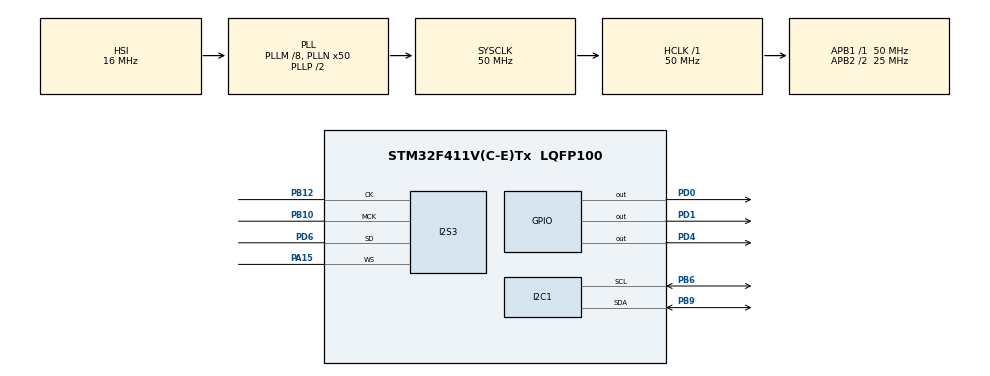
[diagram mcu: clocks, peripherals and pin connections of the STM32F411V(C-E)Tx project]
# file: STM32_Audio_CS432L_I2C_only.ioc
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Dma.Request0=SPI3_TX
Dma.SPI3_TX.0.Direction=DMA_MEMORY_TO_PERIPH
Dma.SPI3_TX.0.FIFOMode=DMA_FIFOMODE_DISABLE
Dma.SPI3_TX.0.Instance=DMA1_Stream5
Dma.SPI3_TX.0.MemDataAlignment=DMA_MDATAALIGN_BYTE
Dma.SPI3_TX.0.MemInc=DMA_MINC_ENABLE
Dma.SPI3_TX.0.Mode=DMA_NORMAL
Dma.SPI3_TX.0.PeriphDataAlignment=DMA_PDATAALIGN_BYTE
Dma.SPI3_TX.0.PeriphInc=DMA_PINC_DISABLE
Dma.SPI3_TX.0.Priority=DMA_PRIORITY_LOW
I2S3.ErrorAudioFreq=-0.36 %
I2S3.FullDuplexMode=I2S_FULLDUPLEXMODE_DISABLE
I2S3.Instance=SPI$Index
I2S3.RealAudioFreq=7.971 KHz
I2S3.VirtualMode=I2S_MODE_MASTER
Mcu.Family=STM32F4
Mcu.Name=STM32F411V(C-E)Tx
Mcu.Package=LQFP100
NVIC.DMA1_Stream5_IRQn=true\:0\:0\:false\:false\:true\:false\:true\:true
NVIC.PriorityGroup=NVIC_PRIORITYGROUP_0
NVIC.SPI3_IRQn=true\:0\:0\:false\:false\:true\:true\:true\:true
NVIC.TIM2_IRQn=true\:0\:0\:false\:false\:true\:true\:true\:true
PA15.Mode=Half_Duplex_Master
PA15.Signal=I2S3_WS
PB10.Mode=Master_Clock_Activated
PB10.Signal=I2S3_MCK
PB12.Mode=Half_Duplex_Master
PB12.Signal=I2S3_CK
PB6.Mode=I2C
PB6.Signal=I2C1_SCL
PB9.Mode=I2C
PB9.Signal=I2C1_SDA
PD0.Signal=GPIO_Output
PD1.Signal=GPIO_Output
PD4.Signal=GPIO_Output
PD6.Mode=Half_Duplex_Master
PD6.Signal=I2S3_SD
PH0\ -\ OSC_IN.Mode=HSE-External-Oscillator
PH0\ -\ OSC_IN.Signal=RCC_OSC_IN
PH1\ -\ OSC_OUT.Mode=HSE-External-Oscillator
PH1\ -\ OSC_OUT.Signal=RCC_OSC_OUT
ProjectManager.HeapSize=0x200
ProjectManager.StackSize=0x400
ProjectManager.TargetToolchain=STM32CubeIDE
RCC.48MHZClocksFreq_Value=12500000
RCC.AHBFreq_Value=50000000
RCC.APB1Freq_Value=50000000
RCC.APB1TimFreq_Value=50000000
RCC.APB2CLKDivider=RCC_HCLK_DIV2
RCC.APB2Freq_Value=25000000
RCC.APB2TimFreq_Value=50000000
RCC.CortexFreq_Value=50000000
RCC.HCLKFreq_Value=50000000
RCC.HSE_VALUE=8000000
RCC.HSI_VALUE=16000000
RCC.LSE_VALUE=32768
RCC.PLLI2SM=8
RCC.PLLI2SN=200
RCC.PLLI2SR=4
RCC.PLLM=8
RCC.PLLN=50
RCC.PLLQ=8
RCC.SYSCLKFreq_VALUE=50000000
RCC.SYSCLKSource=RCC_SYSCLKSOURCE_PLLCLK
RCC.VCOOutputFreq_Value=100000000
VP_TIM2_VS_ClockSourceINT.Mode=Internal
VP_TIM2_VS_OPM.Mode=OPM_bit
board=STM32F411E-DISCO

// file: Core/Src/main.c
/* USER CODE BEGIN Header */
/**
  ******************************************************************************
  * @file           : main.c
  * @brief          : Main program body
  ******************************************************************************
  * @attention
  *
  * Copyright (c) 2025 STMicroelectronics.
  * All rights reserved.
  *
  * This software is licensed under terms that can be found in the LICENSE file
  * in the root directory of this software component.
  * If no LICENSE file comes with this software, it is provided AS-IS.
  *
  ******************************************************************************
  */
/* USER CODE END Header */
#include "main.h"

/* USER CODE BEGIN Includes */
#include "MY_CS43L22.h"
#include "math.h"
#include "melody.h"
/* USER CODE END Includes */

/* USER CODE BEGIN PD */
extern const melody_s mary_lamb_melody[];
extern const melody_s star_wars_theme[];
extern const melody_s twinkle_twinkle_melody_complete[];
/* USER CODE END PD */

I2C_HandleTypeDef hi2c1;

I2S_HandleTypeDef hi2s3;
DMA_HandleTypeDef hdma_spi3_tx;

TIM_HandleTypeDef htim2;

/* USER CODE BEGIN PV */
uint8_t dma_processing = 0;
/* USER CODE END PV */

void SystemClock_Config(void);
static void MX_GPIO_Init(void);
static void MX_DMA_Init(void);
static void MX_I2C1_Init(void);
static void MX_I2S3_Init(void);
static void MX_TIM2_Init(void);
/* USER CODE BEGIN PFP */
#define PI 3.14159f

//Sample rate and Output freq
#define F_SAMPLE		48000.0f
#define F_OUT				1500.0f
/* USER CODE END PFP */

/* USER CODE BEGIN 0 */
float mySinVal;
float sample_dt;
uint16_t sample_N;
uint16_t i_t;
uint32_t timer_elapsed = 0;
uint32_t myDacVal;

int16_t dataI2S[100];

uint8_t half_cpt = 0;
uint32_t mytimeperiod = 999;
uint8_t full_cpt = 0;

#define I2S_DMA_BUFFER_SAMPLES 5000
#define I2S_DMA_BUFFER_SIZE 2 * 2 * I2S_DMA_BUFFER_SAMPLES // 2 full buffers L+R samples
#define SAMPLE_FREQ 4800

int16_t i2s_dma_buffer[I2S_DMA_BUFFER_SIZE];
int nsamples = sizeof(i2s_dma_buffer) / sizeof(i2s_dma_buffer[0]);

void process_buffer(int16_t* buff,float freq,double volume)
{
    int i = 0;
    dma_processing = 1;
    double t = 0.0f;
    while(i < 2*I2S_DMA_BUFFER_SAMPLES) {
         //double t = ((double)i)/((double)nsamples);
    	//RAMP waveform
          //buff[i] = 10*i;//32767*sin(2*PI*t*1); // left
          //buff[i+1] = 1v0*i;//buff[i]; // right

    	//DC is filtered out by the DAC or Oscilloscope
          //buff[i] = 32767;
          //buff[i+1] = buff[i];

    	//Sinusoidal
//           buff[i] = 100*sin(t);
//           buff[i+1] = buff[i];
//           t = t + (2*PI/I2S_DMA_BUFFER_SAMPLES);
//           i += 2;

    	   t = (2*PI*i*(freq/48000.0));
		   buff[i] = 100*volume*sin(t); //100*volume*(sin(t));
		   buff[i+1] = 0;//-100;//buff[i];// buff[i];
		   i += 2;
    }
    dma_processing = 0;
}

void play_note(float freq,uint16_t duration,double vol)
{
#ifndef EXT_DAC
	start_dac();
	CS43_Start();
#endif
	memset(i2s_dma_buffer,0,nsamples);
	process_buffer(i2s_dma_buffer, freq, vol);
	timer_elapsed = 0;
	full_cpt = 0;
	mytimeperiod = (duration) - 1;
	MX_TIM2_Init();
	HAL_TIM_Base_Start_IT(&htim2);

#ifndef EXT_DAC
    CS43_SetVolume(50);
	CS43_SetVolume(0);
#endif
	HAL_I2S_Transmit_DMA(&hi2s3, i2s_dma_buffer,nsamples);
	while((timer_elapsed == 0));
	while(full_cpt == 0);

	//Necessary,to write 0 on the I2S data as DMA does not flush the I2S buffer
	int16_t data = 0x00;
	HAL_I2S_Transmit(&hi2s3, &data,1, 0xFFF);

#ifndef EXT_DAC
	stop_dac();
#endif
}

void start_dac()
{
 	CS43_Init(hi2c1, MODE_I2S);
 	CS43_SetVolume(50); //0 - 100,, 40
 	//CS43_Enable_RightLeft(CS43_RIGHT_LEFT);
 	CS43_Enable_RightLeft(CS43_LEFT);
// 	CS43_Start();
}

void stop_dac()
{
	CS43_SetVolume(0);

	uint8_t data = 0x00;
	CS43_WriteRegister(0x0A,&data);

	data = 0x9F;
	CS43_WriteRegister(0x02,&data);

	HAL_Delay(1);
	CS43_Stop();
	HAL_GPIO_WritePin(GPIOD,GPIO_PIN_4,GPIO_PIN_RESET);

}
/* USER CODE END 0 */

int main(void)
{

  /* USER CODE BEGIN 1 */
	sample_dt = F_OUT/F_SAMPLE;
	sample_N = F_SAMPLE/F_OUT;
  /* USER CODE END 1 */

  /* MCU Configuration--------------------------------------------------------*/

  /* Reset of all peripherals, Initializes the Flash interface and the Systick. */
  HAL_Init();

  /* Configure the system clock */
  SystemClock_Config();

  /* Initialize all configured peripherals */
  MX_GPIO_Init();
  MX_DMA_Init();
  MX_I2C1_Init();
  MX_I2S3_Init();
  MX_TIM2_Init();
  /* USER CODE BEGIN 2 */
  HAL_GPIO_WritePin(GPIOD, GPIO_PIN_0, GPIO_PIN_RESET);
  HAL_GPIO_WritePin(GPIOD, GPIO_PIN_1, GPIO_PIN_RESET);

  /* USER CODE BEGIN 2 */
   //start_dac();

    HAL_StatusTypeDef res;
   uint8_t temp = full_cpt;
   //test_notes();

   __HAL_UNLOCK(&hi2s3);     // THIS IS EXTREMELY IMPORTANT FOR I2S3 TO WORK!!
   	__HAL_I2S_ENABLE(&hi2s3); // THIS IS EXTREMELY IMPORTANT FOR I2S3 TO WORK!!
   play_melody(mary_lamb_melody, MARY_LAMB_LENGTH);
  // play_melody(star_wars_theme,21);
 //  play_melody(twinkle_twinkle_melody_complete,48);
   //stop_dac();
  /* USER CODE END 2 */

  /* Infinite loop */
  /* USER CODE BEGIN WHILE */
  while (1)
  {
	  //full_cpt = 0;
	  //res = HAL_I2S_Transmit_DMA(&hi2s3, (uint16_t*)i2s_dma_buffer,2*I2S_DMA_BUFFER_SAMPLES);
      //while(full_cpt == 0);
    /* USER CODE END WHILE */

  }
}

void SystemClock_Config(void)
{
  RCC_OscInitTypeDef RCC_OscInitStruct = {0};
  RCC_ClkInitTypeDef RCC_ClkInitStruct = {0};

  /** Configure the main internal regulator output voltage
  */
  __HAL_RCC_PWR_CLK_ENABLE();
  __HAL_PWR_VOLTAGESCALING_CONFIG(PWR_REGULATOR_VOLTAGE_SCALE1);

  /** Initializes the RCC Oscillators according to the specified parameters
  * in the RCC_OscInitTypeDef structure.
  */
  RCC_OscInitStruct.OscillatorType = RCC_OSCILLATORTYPE_HSI;
  RCC_OscInitStruct.HSIState = RCC_HSI_ON;
  RCC_OscInitStruct.HSICalibrationValue = RCC_HSICALIBRATION_DEFAULT;
  RCC_OscInitStruct.PLL.PLLState = RCC_PLL_ON;
  RCC_OscInitStruct.PLL.PLLSource = RCC_PLLSOURCE_HSI;
  RCC_OscInitStruct.PLL.PLLM = 8;
  RCC_OscInitStruct.PLL.PLLN = 50;
  RCC_OscInitStruct.PLL.PLLP = RCC_PLLP_DIV2;
  RCC_OscInitStruct.PLL.PLLQ = 8;
  if (HAL_RCC_OscConfig(&RCC_OscInitStruct) != HAL_OK)
  {
    Error_Handler();
  }

  /** Initializes the CPU, AHB and APB buses clocks
  */
  RCC_ClkInitStruct.ClockType = RCC_CLOCKTYPE_HCLK|RCC_CLOCKTYPE_SYSCLK
                              |RCC_CLOCKTYPE_PCLK1|RCC_CLOCKTYPE_PCLK2;
  RCC_ClkInitStruct.SYSCLKSource = RCC_SYSCLKSOURCE_PLLCLK;
  RCC_ClkInitStruct.AHBCLKDivider = RCC_SYSCLK_DIV1;
  RCC_ClkInitStruct.APB1CLKDivider = RCC_HCLK_DIV1;
  RCC_ClkInitStruct.APB2CLKDivider = RCC_HCLK_DIV2;

  if (HAL_RCC_ClockConfig(&RCC_ClkInitStruct, FLASH_LATENCY_1) != HAL_OK)
  {
    Error_Handler();
  }
}

static void MX_I2C1_Init(void)
{

  hi2c1.Instance = I2C1;
  hi2c1.Init.ClockSpeed = 100000;
  hi2c1.Init.DutyCycle = I2C_DUTYCYCLE_2;
  hi2c1.Init.OwnAddress1 = 0;
  hi2c1.Init.AddressingMode = I2C_ADDRESSINGMODE_7BIT;
  hi2c1.Init.DualAddressMode = I2C_DUALADDRESS_DISABLE;
  hi2c1.Init.OwnAddress2 = 0;
  hi2c1.Init.GeneralCallMode = I2C_GENERALCALL_DISABLE;
  hi2c1.Init.NoStretchMode = I2C_NOSTRETCH_DISABLE;
  if (HAL_I2C_Init(&hi2c1) != HAL_OK)
  {
    Error_Handler();
  }

}

static void MX_I2S3_Init(void)
{

  hi2s3.Instance = SPI3;
  hi2s3.Init.Mode = I2S_MODE_MASTER_TX;
  hi2s3.Init.Standard = I2S_STANDARD_PHILIPS;
  hi2s3.Init.DataFormat = I2S_DATAFORMAT_16B;
  hi2s3.Init.MCLKOutput = I2S_MCLKOUTPUT_DISABLE;
  hi2s3.Init.AudioFreq = I2S_AUDIOFREQ_48K;
  hi2s3.Init.CPOL = I2S_CPOL_LOW;
  hi2s3.Init.ClockSource = I2S_CLOCK_PLL;
  hi2s3.Init.FullDuplexMode = I2S_FULLDUPLEXMODE_DISABLE;
  if (HAL_I2S_Init(&hi2s3) != HAL_OK)
  {
    Error_Handler();
  }

}

static void MX_TIM2_Init(void)
{

  TIM_ClockConfigTypeDef sClockSourceConfig = {0};
  TIM_MasterConfigTypeDef sMasterConfig = {0};

  htim2.Instance = TIM2;
  htim2.Init.Prescaler = 4999;
  htim2.Init.CounterMode = TIM_COUNTERMODE_UP;
  htim2.Init.Period = mytimeperiod;
  htim2.Init.ClockDivision = TIM_CLOCKDIVISION_DIV1;
  htim2.Init.AutoReloadPreload = TIM_AUTORELOAD_PRELOAD_DISABLE;
  if (HAL_TIM_Base_Init(&htim2) != HAL_OK)
  {
    Error_Handler();
  }
  sClockSourceConfig.ClockSource = TIM_CLOCKSOURCE_INTERNAL;
  if (HAL_TIM_ConfigClockSource(&htim2, &sClockSourceConfig) != HAL_OK)
  {
    Error_Handler();
  }
  if (HAL_TIM_OnePulse_Init(&htim2, TIM_OPMODE_SINGLE) != HAL_OK)
  {
    Error_Handler();
  }
  sMasterConfig.MasterOutputTrigger = TIM_TRGO_RESET;
  sMasterConfig.MasterSlaveMode = TIM_MASTERSLAVEMODE_DISABLE;
  if (HAL_TIMEx_MasterConfigSynchronization(&htim2, &sMasterConfig) != HAL_OK)
  {
    Error_Handler();
  }
  /* USER CODE BEGIN TIM2_Init 2 */
//  HAL_NVIC_SetPriority(TIM2_IRQn, 0, 0);
//  HAL_NVIC_EnableIRQ(TIM2_IRQn);

  /* USER CODE END TIM2_Init 2 */

}

static void MX_DMA_Init(void)
{

  /* DMA controller clock enable */
  __HAL_RCC_DMA1_CLK_ENABLE();

  /* DMA interrupt init */
  /* DMA1_Stream5_IRQn interrupt configuration */
  HAL_NVIC_SetPriority(DMA1_Stream5_IRQn, 0, 0);
  HAL_NVIC_EnableIRQ(DMA1_Stream5_IRQn);

}

static void MX_GPIO_Init(void)
{
  GPIO_InitTypeDef GPIO_InitStruct = {0};

  /* GPIO Ports Clock Enable */
  __HAL_RCC_GPIOH_CLK_ENABLE();
  __HAL_RCC_GPIOB_CLK_ENABLE();
  __HAL_RCC_GPIOA_CLK_ENABLE();
  __HAL_RCC_GPIOD_CLK_ENABLE();

  /*Configure GPIO pin Output Level */
  HAL_GPIO_WritePin(GPIOD, GPIO_PIN_0|GPIO_PIN_1|GPIO_PIN_4, GPIO_PIN_RESET);

  /*Configure GPIO pins : PD0 PD1 PD4 */
  GPIO_InitStruct.Pin = GPIO_PIN_0|GPIO_PIN_1|GPIO_PIN_4;
  GPIO_InitStruct.Mode = GPIO_MODE_OUTPUT_PP;
  GPIO_InitStruct.Pull = GPIO_NOPULL;
  GPIO_InitStruct.Speed = GPIO_SPEED_FREQ_LOW;
  HAL_GPIO_Init(GPIOD, &GPIO_InitStruct);

}

/* USER CODE BEGIN 4 */
void HAL_TIM_PeriodElapsedCallback(TIM_HandleTypeDef *htim)
{
  if (htim->Instance == TIM2)
  {
    // Timer expired - one-shot complete
    //HAL_I2S_DMAStop(&hi2s3);
    timer_elapsed = 1;
  }
}

void HAL_I2S_TxCpltCallback(I2S_HandleTypeDef *hi2s)
{
//   if(dma_processing)
//   {
//
//   }
//   else
//   {
// 	 process_buffer(&i2s_dma_buffer[2*I2S_DMA_BUFFER_SAMPLES]);
// 	 full_cpt = 1;
//   }
	full_cpt = 1;

	if(timer_elapsed == 1)
	{
    	HAL_I2S_DMAStop(&hi2s3);
	}
}

void HAL_I2S_TxHalfCpltCallback(I2S_HandleTypeDef *hi2s)
{
//   if(dma_processing)
//   {
//
//   }
//   else
//   {
//	  process_buffer(&i2s_dma_buffer[0]);
//	   half_cpt = 1;
//   }
}

/* USER CODE END 4 */

void Error_Handler(void)
{
  __disable_irq();
  while (1)
  {
  }
}
